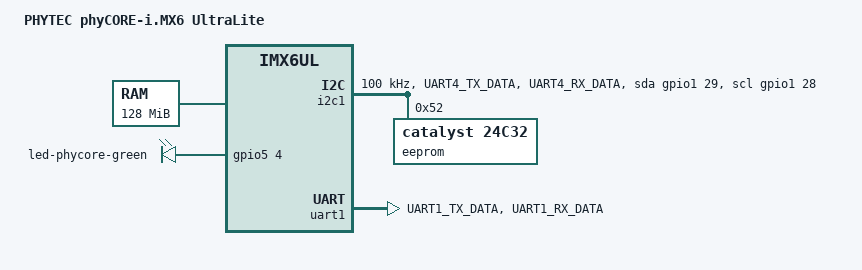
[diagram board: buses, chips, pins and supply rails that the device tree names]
// SPDX-License-Identifier: GPL-2.0
/*
 * Copyright (C) 2016 PHYTEC Messtechnik GmbH
 * Author: Christian Hemp <c.hemp@phytec.de>
 */

#include <dt-bindings/gpio/gpio.h>
#include <dt-bindings/interrupt-controller/irq.h>
#include <dt-bindings/pwm/pwm.h>

/ {
	model = "PHYTEC phyCORE-i.MX6 UltraLite";
	compatible = "phytec,imx6ul-pcl063", "fsl,imx6ul";

	chosen {
		stdout-path = &uart1;
	};

	/*
	 * Set the minimum memory size here and
	 * let the bootloader set the real size.
	 */
	memory@80000000 {
		device_type = "memory";
		reg = <0x80000000 0x8000000>;
	};

	gpio_leds_som: leds {
		pinctrl-names = "default";
		pinctrl-0 = <&pinctrl_gpioleds_som>;
		compatible = "gpio-leds";

		led-phycore-green {
			gpios = <&gpio5 4 GPIO_ACTIVE_HIGH>;
			linux,default-trigger = "heartbeat";
		};
	};
};

&fec1 {
	pinctrl-names = "default";
	pinctrl-0 = <&pinctrl_enet1>;
	phy-mode = "rmii";
	phy-handle = <&ethphy1>;
	status = "disabled";

	mdio: mdio {
		#address-cells = <1>;
		#size-cells = <0>;

		ethphy1: ethernet-phy@1 {
			reg = <1>;
			interrupt-parent = <&gpio1>;
			interrupts = <2 IRQ_TYPE_LEVEL_LOW>;
			micrel,led-mode = <1>;
			clocks = <&clks IMX6UL_CLK_ENET_REF>;
			clock-names = "rmii-ref";
			status = "disabled";
		};
	};
};

&gpmi {
	pinctrl-names = "default";
	pinctrl-0 = <&pinctrl_gpmi_nand>;
	nand-on-flash-bbt;
	status = "disabled";
};

&i2c1 {
	pinctrl-names = "default", "gpio";
	pinctrl-0 = <&pinctrl_i2c1>;
	pinctrl-1 = <&pinctrl_i2c1_gpio>;
	scl-gpios = <&gpio1 28 (GPIO_ACTIVE_HIGH | GPIO_OPEN_DRAIN)>;
	sda-gpios = <&gpio1 29 (GPIO_ACTIVE_HIGH | GPIO_OPEN_DRAIN)>;
	clock-frequency = <100000>;
	status = "okay";

	eeprom@52 {
		compatible = "catalyst,24c32", "atmel,24c32";
		pagesize = <32>;
		reg = <0x52>;
	};
};

&snvs_poweroff {
	status = "okay";
};

&uart1 {
	pinctrl-names = "default";
	pinctrl-0 = <&pinctrl_uart1>;
	status = "okay";
};

&usdhc2 {
	pinctrl-names = "default";
	pinctrl-0 = <&pinctrl_usdhc2>;
	bus-width = <8>;
	no-1-8-v;
	non-removable;
	status = "disabled";
};

&wdog1 {
	fsl,suspend-in-wait;
};

&iomuxc {
	pinctrl_enet1: enet1grp {
		fsl,pins = <
			MX6UL_PAD_GPIO1_IO07__ENET1_MDC		0x10010
			MX6UL_PAD_GPIO1_IO06__ENET1_MDIO	0x10010
			MX6UL_PAD_ENET1_RX_EN__ENET1_RX_EN	0x1b0b0
			MX6UL_PAD_ENET1_RX_ER__ENET1_RX_ER	0x1b0b0
			MX6UL_PAD_ENET1_RX_DATA0__ENET1_RDATA00	0x1b0b0
			MX6UL_PAD_ENET1_RX_DATA1__ENET1_RDATA01	0x1b0b0
			MX6UL_PAD_ENET1_TX_EN__ENET1_TX_EN	0x1b010
			MX6UL_PAD_ENET1_TX_DATA0__ENET1_TDATA00	0x1b010
			MX6UL_PAD_ENET1_TX_DATA1__ENET1_TDATA01	0x1b010
			MX6UL_PAD_ENET1_TX_CLK__ENET1_REF_CLK1	0x4001b010
			MX6UL_PAD_GPIO1_IO02__GPIO1_IO02	0x17059
		>;
	};

	pinctrl_gpioleds_som: gpioledssomgrp {
		fsl,pins = <MX6UL_PAD_SNVS_TAMPER4__GPIO5_IO04	0x0b0b0>;
	};

	pinctrl_gpmi_nand: gpminandgrp {
		fsl,pins = <
			MX6UL_PAD_NAND_CLE__RAWNAND_CLE		0x0b0b1
			MX6UL_PAD_NAND_ALE__RAWNAND_ALE		0x0b0b1
			MX6UL_PAD_NAND_WP_B__RAWNAND_WP_B	0x0b0b1
			MX6UL_PAD_NAND_READY_B__RAWNAND_READY_B	0x0b000
			MX6UL_PAD_NAND_CE0_B__RAWNAND_CE0_B	0x0b0b1
			MX6UL_PAD_NAND_RE_B__RAWNAND_RE_B	0x0b0b1
			MX6UL_PAD_NAND_WE_B__RAWNAND_WE_B	0x0b0b1
			MX6UL_PAD_NAND_DATA00__RAWNAND_DATA00	0x0b0b1
			MX6UL_PAD_NAND_DATA01__RAWNAND_DATA01	0x0b0b1
			MX6UL_PAD_NAND_DATA02__RAWNAND_DATA02	0x0b0b1
			MX6UL_PAD_NAND_DATA03__RAWNAND_DATA03	0x0b0b1
			MX6UL_PAD_NAND_DATA04__RAWNAND_DATA04	0x0b0b1
			MX6UL_PAD_NAND_DATA05__RAWNAND_DATA05	0x0b0b1
			MX6UL_PAD_NAND_DATA06__RAWNAND_DATA06	0x0b0b1
			MX6UL_PAD_NAND_DATA07__RAWNAND_DATA07	0x0b0b1
		>;
	};

	pinctrl_i2c1: i2cgrp {
		fsl,pins = <
			MX6UL_PAD_UART4_TX_DATA__I2C1_SCL	0x4001b8b0
			MX6UL_PAD_UART4_RX_DATA__I2C1_SDA	0x4001b8b0
		>;
	};

	pinctrl_i2c1_gpio: i2cgpiogrp {
		fsl,pins = <
			MX6UL_PAD_UART4_TX_DATA__GPIO1_IO28	0x4001b8b0
			MX6UL_PAD_UART4_RX_DATA__GPIO1_IO29	0x4001b8b0
		>;
	};

	pinctrl_uart1: uart1grp {
		fsl,pins = <
			MX6UL_PAD_UART1_TX_DATA__UART1_DCE_TX	0x1b0b1
			MX6UL_PAD_UART1_RX_DATA__UART1_DCE_RX	0x1b0b1
		>;
	};

	pinctrl_usdhc2: usdhc2grp {
		fsl,pins = <
			MX6UL_PAD_NAND_WE_B__USDHC2_CMD		0x170f9
			MX6UL_PAD_NAND_RE_B__USDHC2_CLK		0x100f9
			MX6UL_PAD_NAND_DATA00__USDHC2_DATA0	0x170f9
			MX6UL_PAD_NAND_DATA01__USDHC2_DATA1	0x170f9
			MX6UL_PAD_NAND_DATA02__USDHC2_DATA2	0x170f9
			MX6UL_PAD_NAND_DATA03__USDHC2_DATA3	0x170f9
			MX6UL_PAD_NAND_DATA04__USDHC2_DATA4	0x170f9
			MX6UL_PAD_NAND_DATA05__USDHC2_DATA5	0x170f9
			MX6UL_PAD_NAND_DATA06__USDHC2_DATA6	0x170f9
			MX6UL_PAD_NAND_DATA07__USDHC2_DATA7	0x170f9
		>;
	};

};
